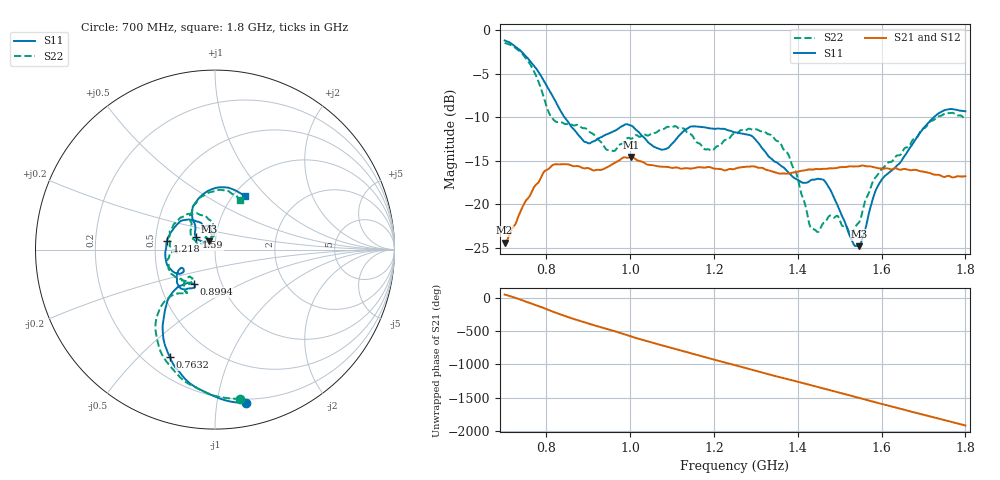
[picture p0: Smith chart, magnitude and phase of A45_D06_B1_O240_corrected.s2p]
! Created with skrf 1.9.0 (http://scikit-rf.org).
# Hz S RI R 50.0
!freq ReS11 ImS11 ReS21 ImS21 ReS12 ImS12 ReS22 ImS22
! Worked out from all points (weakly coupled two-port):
!   1601 points, 700 MHz to 1.8 GHz, reference 50 ohm
!   highest |S21| = -14.56 dB at 1.002 GHz (marker M1); lowest = -24.4 dB at 700 MHz (marker M2)
!   lowest |S11| = -24.8 dB at 1.546 GHz (marker M3), VSWR 1.12, Z = 46.6 + j4.38 ohm
!   |S11| at or under -10 dB: 843.1 MHz to 1.725 GHz (881.5 MHz wide, 68.7 % of centre)
!   |S22| runs from -23.5 to -1.5 dB; largest |S21 - S12| = 0.0035
!   S11 on the Smith chart (normalised r, x): 700 MHz: 0.17, -1.21; 763.2 MHz: 0.30, -0.62; 899.4 MHz: 0.74, -0.30; 1.218 GHz: 0.58, +0.06; 1.59 GHz: 0.80, +0.11; 1.8 GHz: 1.12, +0.76
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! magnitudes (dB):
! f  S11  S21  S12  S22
! 700 MHz  -1.2  -24.4  -24.2  -1.5
! 763.2 MHz  -3.7  -18.7  -18.7  -4.1
! 814.8 MHz  -7.6  -15.5  -15.5  -10.2
! 883.6 MHz  -12.4  -15.8  -15.7  -11.2
! 899.4 MHz  -13.0  -15.8  -15.9  -11.5
! 948.9 MHz  -11.9  -15.6  -15.6  -13.8
! 1.002 GHz  -11.0  -14.6  -14.7  -12.5
! 1.067 GHz  -13.6  -15.6  -15.6  -11.6
! 1.144 GHz  -11.1  -15.9  -15.9  -11.9
! 1.18 GHz  -11.2  -15.8  -15.7  -13.7
! 1.218 GHz  -11.3  -16.0  -16.0  -13.1
! 1.25 GHz  -11.7  -15.9  -15.8  -11.9
! 1.357 GHz  -15.5  -16.5  -16.4  -12.9
! 1.396 GHz  -17.1  -16.3  -16.3  -16.3
! 1.434 GHz  -17.2  -16.0  -16.0  -22.8
! 1.467 GHz  -17.5  -15.9  -15.9  -21.9
! 1.527 GHz  -23.9  -15.6  -15.6  -23.5
! 1.546 GHz  -24.8  -15.6  -15.6  -22.0
! 1.59 GHz  -18.0  -15.8  -15.8  -16.6
! 1.617 GHz  -16.4  -15.9  -15.9  -15.2
! 1.731 GHz  -9.7  -16.6  -16.6  -10.1
! 1.8 GHz  -9.3  -16.8  -16.7  -10.2
